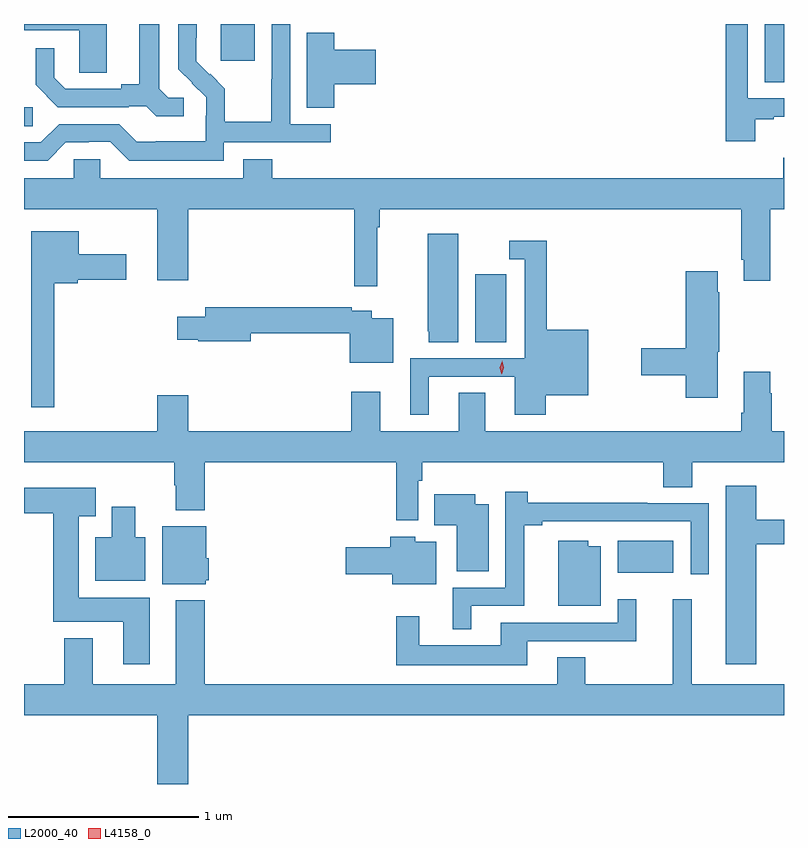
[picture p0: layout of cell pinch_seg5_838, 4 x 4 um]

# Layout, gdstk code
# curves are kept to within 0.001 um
import gdstk
lib = gdstk.Library(unit=1e-6, precision=1e-09)
def R(c, l, rs):  # rectangles x0, y0, x1, y1
    for r in rs: c.add(gdstk.rectangle(r[:2], r[2:], *l))
def P(c, l, *ps):  # polygons
    for p in ps: c.add(gdstk.Polygon(p, *l))
L2000_40 = (2000, 40)
L4158_0 = (4158, 0)

pinch_seg5_838 = lib.new_cell('pinch_seg5_838')
R(pinch_seg5_838, L2000_40, [(802.796,888.146,803.089,888.316), (802.046,889.36,802.21,889.717), (799.672,890.497,799.717,890.598), (803.57,890.728,803.672,891.035), (800.708,890.841,800.887,891.035)])
P(pinch_seg5_838, L2000_40, [(800.512,890.646),(800.43,890.646),(800.383,890.693),(800.383,891.035),(800.279,891.035),(800.279,890.717),(800.183,890.717),(800.183,890.694),(799.888,890.694),(799.831,890.751),(799.831,890.908),(799.734,890.908),(799.734,890.714),(799.85,890.598),(800.222,890.598),(800.222,890.601),(800.316,890.601),(800.368,890.549),(800.512,890.549)],
  [(800.107,891.035),(799.672,891.035),(799.672,891.003),(799.962,891.003),(799.962,890.779),(800.107,890.779)],
  [(800.724,890.412),(801.286,890.412),(801.286,890.508),(801.072,890.508),(801.072,891.035),(800.976,891.035),(800.976,890.744),(800.974,890.744),(800.974,890.521),(800.729,890.521),(800.729,890.695),(800.652,890.772),(800.649,890.769),(800.579,890.84),(800.58,891.035),(800.484,891.035),(800.484,890.798),(800.63,890.65),(800.63,890.553),(800.628,890.553),(800.628,890.419),(800.365,890.419),(800.365,890.415),(800.265,890.415),(800.172,890.508),(799.857,890.508),(799.761,890.412),(799.672,890.412),(799.672,890.316),(799.797,890.316),(799.893,890.412),(800.012,890.412),(800.012,890.415),(800.127,890.415),(800.227,890.315),(800.724,890.315)],
  [(803.521,890.535),(803.617,890.535),(803.617,890.547),(803.672,890.547),(803.672,890.643),(803.481,890.643),(803.481,891.035),(803.365,891.035),(803.365,890.418),(803.521,890.418)],
  [(801.305,890.717),(801.523,890.717),(801.523,890.9),(801.305,890.9),(801.305,890.99),(801.161,890.99),(801.161,890.593),(801.305,890.593)],
  [(800.978,890.323),(800.825,890.323),(800.825,890.224),(800.073,890.224),(800.073,890.322),(799.935,890.322),(799.935,890.224),(799.672,890.224),(799.672,890.06),(800.372,890.06),(800.372,889.686),(800.536,889.686),(800.536,890.06),(801.409,890.06),(801.409,889.656),(801.53,889.656),(801.53,889.964),(801.545,889.964),(801.545,890.06),(803.447,890.06),(803.447,889.795),(803.459,889.795),(803.459,889.683),(803.599,889.683),(803.599,890.06),(803.672,890.06),(803.672,890.33),(803.669,890.33),(803.669,890.224),(800.978,890.224)],
  [(799.831,889.67),(799.956,889.67),(799.956,889.688),(800.209,889.688),(800.209,889.822),(799.96,889.822),(799.96,889.945),(799.709,889.945),(799.709,889.017),(799.831,889.017)],
  [(801.958,889.93),(801.797,889.93),(801.797,889.419),(801.803,889.419),(801.803,889.36),(801.958,889.36)],
  [(801.802,889.179),(802.256,889.179),(802.256,888.978),(802.418,888.978),(802.418,889.082),(802.642,889.082),(802.642,889.426),(802.424,889.426),(802.424,889.894),(802.227,889.894),(802.227,889.797),(802.308,889.797),(802.308,889.275),(801.704,889.275),(801.704,888.978),(801.802,888.978)],
  [(803.323,889.311),(803.331,889.311),(803.331,889.622),(803.323,889.622),(803.323,889.735),(803.156,889.735),(803.156,889.328),(802.92,889.328),(802.92,889.186),(803.156,889.186),(803.156,889.068),(803.323,889.068)],
  [(801.616,889.486),(801.502,889.486),(801.502,889.525),(801.398,889.525),(801.398,889.544),(800.627,889.544),(800.627,889.495),(800.478,889.495),(800.478,889.373),(800.59,889.373),(800.59,889.366),(800.866,889.366),(800.866,889.408),(801.386,889.408),(801.386,889.253),(801.616,889.253)],
  [(801.747,888.632),(801.767,888.632),(801.767,888.728),(803.036,888.728),(803.036,888.598),(803.188,888.598),(803.188,888.728),(803.672,888.728),(803.672,888.892),(803.607,888.892),(803.607,889.091),(803.599,889.091),(803.599,889.204),(803.459,889.204),(803.459,888.988),(803.447,888.988),(803.447,888.892),(802.099,888.892),(802.099,889.094),(801.959,889.094),(801.959,888.892),(801.547,888.892),(801.547,889.099),(801.395,889.099),(801.395,888.892),(800.536,888.892),(800.536,889.081),(800.372,889.081),(800.372,888.892),(799.672,888.892),(799.672,888.728),(800.464,888.728),(800.464,888.608),(800.471,888.608),(800.471,888.476),(800.624,888.476),(800.624,888.728),(801.631,888.728),(801.631,888.422),(801.747,888.422)],
  [(803.525,888.298),(803.672,888.298),(803.672,888.427),(803.525,888.427),(803.525,888.604),(803.366,888.604),(803.366,887.664),(803.525,887.664)],
  [(800.335,888.016),(799.96,888.016),(799.96,888.443),(800.05,888.443),(800.05,888.595),(799.672,888.595),(799.672,888.461),(799.826,888.461),(799.826,887.888),(800.195,887.888),(800.195,887.664),(800.335,887.664)],
  [(802.027,887.973),(802.304,887.973),(802.304,888.397),(802.399,888.397),(802.399,888.417),(803.181,888.417),(803.181,888.138),(803.277,888.138),(803.277,888.513),(802.952,888.513),(802.952,888.515),(802.322,888.515),(802.322,888.574),(802.206,888.574),(802.206,888.069),(801.929,888.069),(801.929,887.849),(802.027,887.849)],
  [(802.117,888.508),(802.048,888.508),(802.048,888.559),(801.832,888.559),(801.832,888.398),(801.95,888.398),(801.95,888.154),(802.117,888.154)],
  [(800.311,888.334),(800.257,888.334),(800.257,888.493),(800.135,888.493),(800.135,888.334),(800.048,888.334),(800.048,888.104),(800.311,888.104)],
  [(800.628,888.108),(800.644,888.108),(800.644,888.222),(800.632,888.222),(800.632,888.391),(800.399,888.391),(800.399,888.086),(800.628,888.086)],
  [(801.841,888.31),(801.732,888.31),(801.732,888.337),(801.599,888.337),(801.599,888.282),(801.366,888.282),(801.366,888.14),(801.611,888.14),(801.611,888.086),(801.841,888.086)],
  [(802.708,888.286),(802.642,888.286),(802.642,888.316),(802.484,888.316),(802.484,887.972),(802.708,887.972)],
  [(802.321,887.787),(802.895,887.787),(802.895,888.007),(802.797,888.007),(802.797,887.883),(802.181,887.883),(802.181,887.764),(801.751,887.764),(801.751,887.917),(801.63,887.917),(801.63,887.66),(802.321,887.66)],
  [(800.536,887.396),(803.672,887.396),(803.672,887.56),(803.186,887.56),(803.186,888.007),(803.087,888.007),(803.087,887.56),(802.626,887.56),(802.626,887.702),(802.478,887.702),(802.478,887.56),(800.624,887.56),(800.624,888.001),(800.471,888.001),(800.471,887.56),(800.035,887.56),(800.035,887.803),(799.883,887.803),(799.883,887.56),(799.672,887.56),(799.672,887.396),(800.372,887.396),(800.372,887.035),(800.536,887.035)])
P(pinch_seg5_838, L4158_0, [(802.186,889.192),(802.186,889.192),(802.177,889.227),(802.188,889.261),(802.188,889.262),(802.189,889.261),(802.197,889.226),(802.186,889.192)])

lib.write_gds('pinch_seg5_838.gds')
